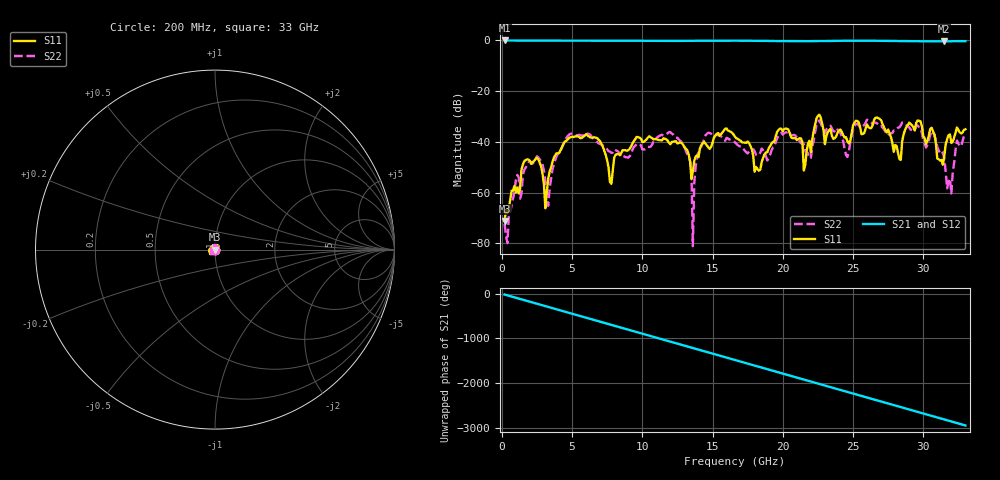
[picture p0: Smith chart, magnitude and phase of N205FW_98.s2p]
# GHZ S RI R 50
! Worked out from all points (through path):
!   329 points, 200 MHz to 33 GHz, reference 50 ohm
!   highest |S21| = -0.02 dB at 200 MHz (marker M1); lowest = -0.4 dB at 31.5 GHz (marker M2)
!   group delay of S21, straight-line fit = 248 ps
!   lowest |S11| = -71.2 dB at 200 MHz (marker M3), VSWR 1.00, Z = 50 + j0.00775 ohm
!   |S11| at or under -10 dB: start of sweep to end of sweep
!   |S22| runs from -81.2 to -31.3 dB; largest |S21 - S12| = 0.0022
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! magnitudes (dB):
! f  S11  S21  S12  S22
! 200 MHz  -71.2  0.0  0.0  -72.4
! 1.6 GHz  -47.7  -0.1  -0.1  -51.0
! 2.6 GHz  -46.9  -0.1  -0.1  -46.2
! 3.1 GHz  -66.2  -0.1  -0.1  -55.4
! 3.3 GHz  -54.8  -0.1  -0.1  -65.3
! 3.7 GHz  -46.4  -0.1  -0.1  -49.0
! 5.7 GHz  -38.4  -0.1  -0.1  -37.5
! 7.8 GHz  -56.6  -0.1  -0.1  -44.3
! 11.2 GHz  -39.3  -0.2  -0.2  -37.7
! 13.4 GHz  -47.6  -0.2  -0.2  -47.6
! 13.5 GHz  -54.8  -0.2  -0.2  -51.4
! 13.6 GHz  -51.5  -0.2  -0.2  -81.2
! 13.7 GHz  -47.6  -0.2  -0.2  -56.2
! 13.9 GHz  -45.4  -0.2  -0.2  -45.4
! 16.6 GHz  -38.0  -0.1  -0.1  -40.2
! 18 GHz  -51.8  -0.2  -0.2  -43.7
! 22.1 GHz  -39.0  -0.3  -0.3  -41.9
! 27.6 GHz  -36.5  -0.2  -0.2  -36.7
! 31.5 GHz  -45.5  -0.4  -0.4  -46.7
! 32 GHz  -40.5  -0.3  -0.3  -60.4
! 32.4 GHz  -34.4  -0.3  -0.3  -39.5
! 33 GHz  -35.0  -0.3  -0.3  -36.8
